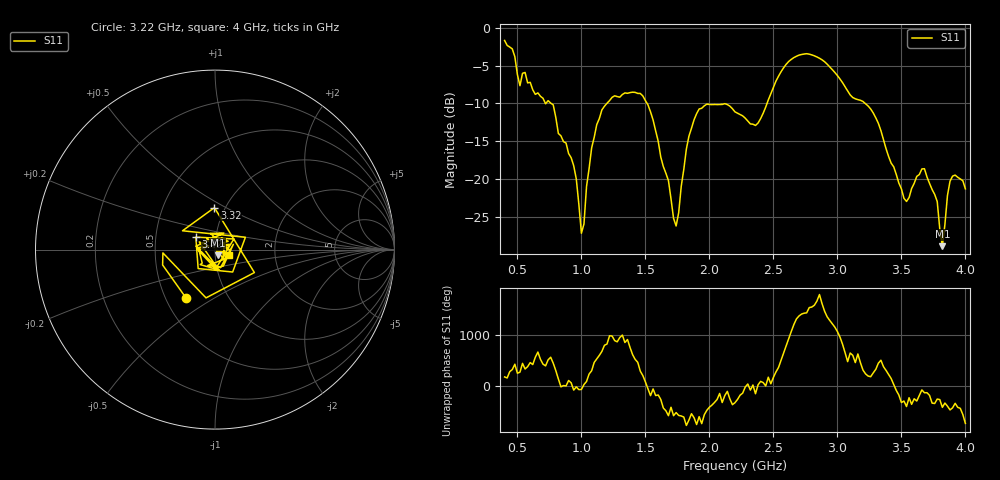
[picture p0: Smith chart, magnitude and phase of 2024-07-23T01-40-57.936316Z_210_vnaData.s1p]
!Created with skrf (http://scikit-rf.org).
# Hz S RI R 50.0
!freq ReS11 ImS11
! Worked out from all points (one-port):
!   181 points, 400 MHz to 4 GHz, reference 50 ohm
!   lowest |S11| = -28.8 dB at 3.82 GHz (marker M1), VSWR 1.07, Z = 51.5 - j3.35 ohm
!   |S11| at or under -10 dB: 764.2 MHz to 1.199 GHz (434.5 MHz wide, 44.3 % of centre); 1.513 GHz to 2.45 GHz (937 MHz wide, 47.3 % of centre); 3.217 GHz to end of sweep (the widest 3 of 4)
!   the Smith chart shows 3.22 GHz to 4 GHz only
!   S11 on the Smith chart (normalised r, x): 3.22 GHz: 0.63, -0.38; 3.32 GHz: 0.89, +0.44; 3.42 GHz: 0.80, +0.11; 4 GHz: 1.17, -0.08
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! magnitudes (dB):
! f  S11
! 400 MHz  -1.7
! 520 MHz  -7.7
! 560 MHz  -5.9
! 780 MHz  -10.2
! 860 MHz  -15.0
! 940 MHz  -18.2
! 1 GHz  -27.1
! 1.12 GHz  -12.8
! 1.3 GHz  -9.2
! 1.52 GHz  -10.2
! 1.72 GHz  -25.2
! 1.76 GHz  -24.4
! 1.82 GHz  -16.0
! 1.92 GHz  -10.7
! 2.2 GHz  -11.1
! 2.36 GHz  -12.9
! 2.66 GHz  -3.9
! 2.88 GHz  -4.2
! 3.1 GHz  -8.9
! 3.22 GHz  -10.0
! 3.32 GHz  -12.6
! 3.42 GHz  -17.9
! 3.56 GHz  -22.4
! 3.68 GHz  -18.6
! 3.78 GHz  -23.0
! 3.82 GHz  -28.8
! 3.88 GHz  -20.3
! 4 GHz  -21.3
